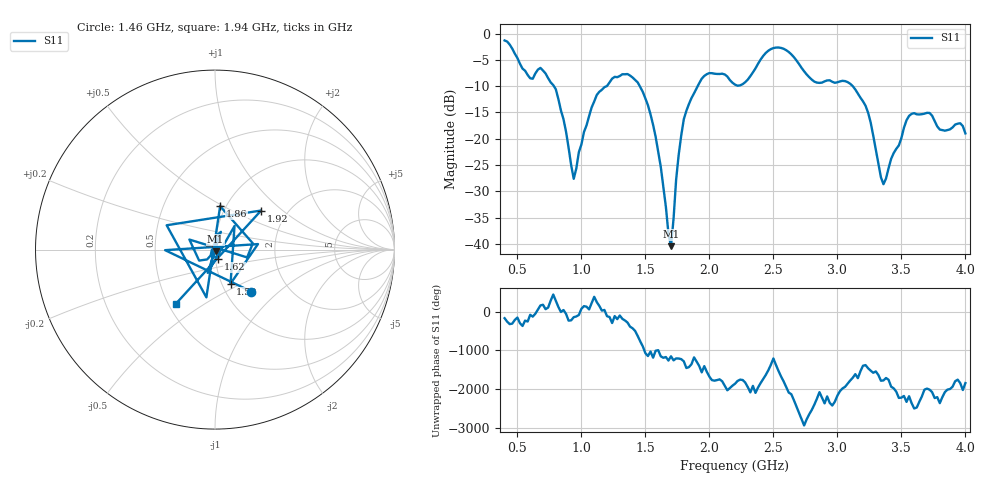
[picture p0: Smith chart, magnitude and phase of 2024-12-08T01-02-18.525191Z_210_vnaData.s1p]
!Created with skrf (http://scikit-rf.org).
# Hz S RI R 50.0
!freq ReS11 ImS11
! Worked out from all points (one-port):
!   181 points, 400 MHz to 4 GHz, reference 50 ohm
!   lowest |S11| = -40.4 dB at 1.7 GHz (marker M1), VSWR 1.02, Z = 50.3 - j0.913 ohm
!   |S11| at or under -10 dB: 785.2 MHz to 1.197 GHz (412.3 MHz wide, 41.6 % of centre); 1.456 GHz to 1.909 GHz (452.6 MHz wide, 26.9 % of centre); 3.12 GHz to end of sweep
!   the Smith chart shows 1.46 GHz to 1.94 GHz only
!   S11 on the Smith chart (normalised r, x): 1.46 GHz: 1.31, -0.68; 1.52 GHz: 1.10, -0.43; 1.62 GHz: 1.03, -0.11; 1.86 GHz: 0.94, +0.48; 1.92 GHz: 1.48, +0.73; 1.94 GHz: 0.55, -0.38
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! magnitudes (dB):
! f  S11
! 400 MHz  -1.3
! 600 MHz  -8.5
! 720 MHz  -7.6
! 800 MHz  -10.6
! 860 MHz  -16.3
! 940 MHz  -27.6
! 1.02 GHz  -18.7
! 1.12 GHz  -11.7
! 1.3 GHz  -8.1
! 1.46 GHz  -10.2
! 1.52 GHz  -13.6
! 1.62 GHz  -25.3
! 1.7 GHz  -40.4
! 1.76 GHz  -23.1
! 1.8 GHz  -16.3
! 1.86 GHz  -12.3
! 1.92 GHz  -9.5
! 1.94 GHz  -8.6
! 2.2 GHz  -9.7
! 2.48 GHz  -3.0
! 2.66 GHz  -4.5
! 2.82 GHz  -9.1
! 3.1 GHz  -9.5
! 3.24 GHz  -15.0
! 3.36 GHz  -28.6
! 3.56 GHz  -15.7
! 3.72 GHz  -15.1
! 4 GHz  -19.0
